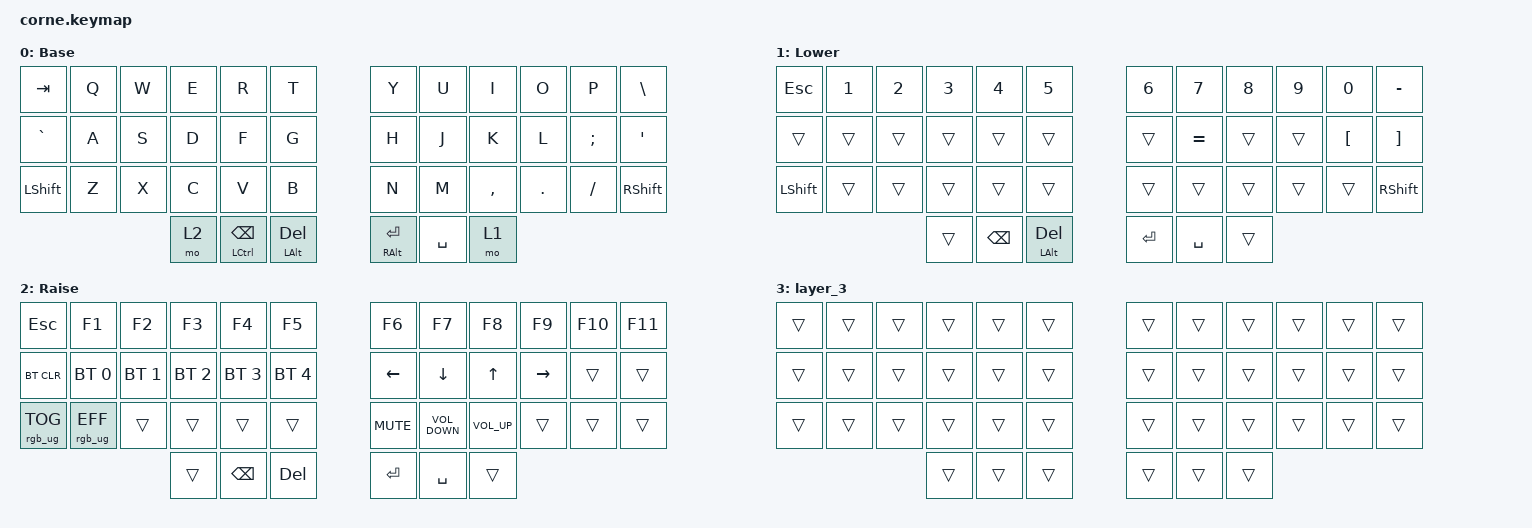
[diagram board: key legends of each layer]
/*
 * Copyright (c) 2020 The ZMK Contributors
 *
 * SPDX-License-Identifier: MIT
 */

#include <behaviors.dtsi>
#include <dt-bindings/zmk/bt.h>
#include <dt-bindings/zmk/keys.h>
#include <dt-bindings/zmk/rgb.h>

/ {
    keymap {
        compatible = "zmk,keymap";

        BASE {
            // -----------------------------------------------------------------------------------------
            // |  TAB |  Q  |  W  |  E  |  R  |  T  |   |  Y  |  U   |  I  |  O  |  P  | BKSP |
            // | CTRL |  A  |  S  |  D  |  F  |  G  |   |  H  |  J   |  K  |  L  |  ;  |  '   |
            // | SHFT |  Z  |  X  |  C  |  V  |  B  |   |  N  |  M   |  ,  |  .  |  /  | ESC  |
            //                    | GUI | LWR | SPC |   | ENT | RSE  | ALT |

            display-name = "Base";
            bindings = <
&kp TAB    &kp Q  &kp W  &kp E  &kp R                       &kp T               &kp Y                &kp U      &kp I      &kp O    &kp P     &kp BACKSLASH
&kp GRAVE  &kp A  &kp S  &kp D  &kp F                       &kp G               &kp H                &kp J      &kp K      &kp L    &kp SEMI  &kp SQT
&kp LSHFT  &kp Z  &kp X  &kp C  &kp V                       &kp B               &kp N                &kp M      &kp COMMA  &kp DOT  &kp FSLH  &kp RIGHT_SHIFT
                         &mo 2  &mt LEFT_CONTROL BACKSPACE  &mt LEFT_ALT DEL    &mt RIGHT_ALT ENTER  &kp SPACE  &mo 1
            >;
        };

        LOWER {
            // -----------------------------------------------------------------------------------------
            // |  TAB |  1  |  2  |  3  |  4  |  5  |   |  6  |  7  |  8  |  9  |  0  | BKSP |
            // | BTCLR| BT1 | BT2 | BT3 | BT4 | BT5 |   | LFT | DWN |  UP | RGT |     |      |
            // | SHFT |     |     |     |     |     |   |     |     |     |     |     |      |
            //                    | GUI |     | SPC |   | ENT |     | ALT |

            display-name = "Lower ";
            bindings = <
&kp ESCAPE  &kp N1  &kp N2  &kp N3  &kp N4         &kp N5                 &kp N6     &kp N7     &kp N8  &kp N9  &kp N0            &kp MINUS
&trans      &trans  &trans  &trans  &trans         &trans                 &trans     &kp EQUAL  &trans  &trans  &kp LEFT_BRACKET  &kp RIGHT_BRACKET
&kp LSHFT   &trans  &trans  &trans  &trans         &trans                 &trans     &trans     &trans  &trans  &trans            &kp RIGHT_SHIFT
                            &trans  &kp BACKSPACE  &mt LEFT_ALT DELETE    &kp ENTER  &kp SPACE  &trans
            >;
        };

        RAISE {
            // -----------------------------------------------------------------------------------------
            // |  TAB |  !  |  @  |  #  |  $  |  %  |   |  ^  |  &  |  *  |  (  |  )  | BKSP |
            // | CTRL |     |     |     |     |     |   |  -  |  =  |  [  |  ]  |  \  |  `   |
            // | SHFT |     |     |     |     |     |   |  _  |  +  |  {  |  }  | "|" |  ~   |
            //                    | GUI |     | SPC |   | ENT |     | ALT |

            display-name = "Raise";
            bindings = <
&kp ESC          &kp F1           &kp F2        &kp F3        &kp F4         &kp F5          &kp F6          &kp F7             &kp F8           &kp F9     &kp F10  &kp F11
&bt BT_CLR       &bt BT_SEL 0     &bt BT_SEL 1  &bt BT_SEL 2  &bt BT_SEL 3   &bt BT_SEL 4    &kp LEFT_ARROW  &kp DOWN           &kp UP_ARROW     &kp RIGHT  &trans   &trans
&rgb_ug RGB_TOG  &rgb_ug RGB_EFF  &trans        &trans        &trans         &trans          &kp K_MUTE      &kp C_VOLUME_DOWN  &kp C_VOLUME_UP  &trans     &trans   &trans
                                                &trans        &kp BACKSPACE  &kp DELETE      &kp RET         &kp SPACE          &trans
            >;
        };

        layer_3 {
            bindings = <
&trans  &trans  &trans  &trans  &trans  &trans    &trans  &trans  &trans  &trans  &trans  &trans
&trans  &trans  &trans  &trans  &trans  &trans    &trans  &trans  &trans  &trans  &trans  &trans
&trans  &trans  &trans  &trans  &trans  &trans    &trans  &trans  &trans  &trans  &trans  &trans
                        &trans  &trans  &trans    &trans  &trans  &trans
            >;
        };
    };
};
